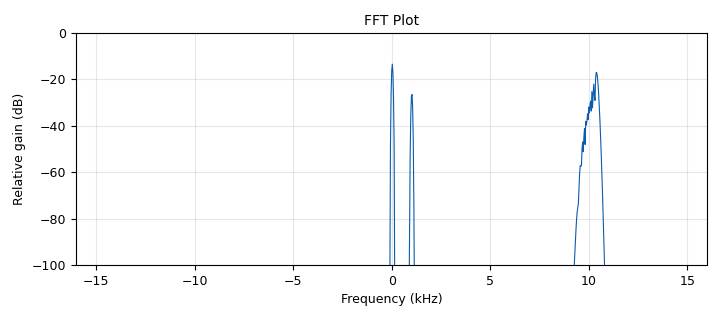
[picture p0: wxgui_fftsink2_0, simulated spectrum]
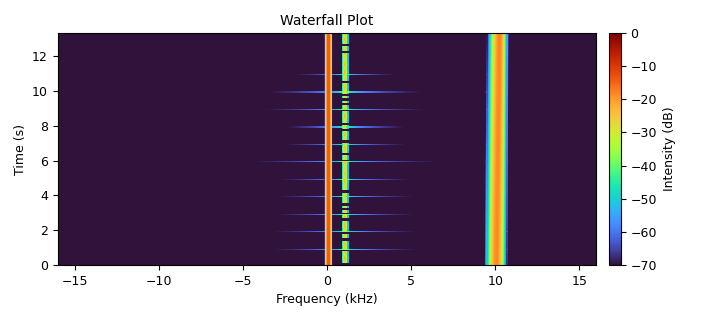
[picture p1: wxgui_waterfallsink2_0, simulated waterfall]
<?xml version='1.0' encoding='utf-8'?>
<flow_graph>
<block>
<key>options</key>
<param><key>id</key><value>top_block</value></param>
<param><key>generate_options</key><value>wx_gui</value></param>
<param><key>category</key><value>Custom</value></param>
</block>
<block>
<key>parameter</key>
<param><key>id</key><value>pi</value></param>
<param><key>value</key><value>3.1415926535</value></param>
</block>
<block>
<key>variable</key>
<param><key>id</key><value>samp_rate</value></param>
<param><key>value</key><value>32000</value></param>
</block>
<block>
<key>gr_multiply_const_vxx</key>
<param><key>id</key><value>gr_multiply_const_vxx_2</value></param>
<param><key>type</key><value>complex</value></param>
<param><key>const</key><value>0.3</value></param>
<param><key>vlen</key><value>1</value></param>
</block>
<block>
<key>gr_multiply_const_vxx</key>
<param><key>id</key><value>gr_multiply_const_vxx_1</value></param>
<param><key>type</key><value>complex</value></param>
<param><key>const</key><value>0.07</value></param>
<param><key>vlen</key><value>1</value></param>
</block>
<block>
<key>gr_sig_source_x</key>
<param><key>id</key><value>gr_sig_source_x_3</value></param>
<param><key>type</key><value>complex</value></param>
<param><key>samp_rate</key><value>samp_rate</value></param>
<param><key>waveform</key><value>gr.GR_COS_WAVE</value></param>
<param><key>freq</key><value>1020</value></param>
<param><key>amp</key><value>1</value></param>
<param><key>offset</key><value>0</value></param>
</block>
<block>
<key>gr_multiply_xx</key>
<param><key>id</key><value>gr_multiply_xx_1</value></param>
<param><key>type</key><value>complex</value></param>
<param><key>num_inputs</key><value>2</value></param>
<param><key>vlen</key><value>1</value></param>
</block>
<block>
<key>gr_repeat</key>
<param><key>id</key><value>gr_repeat_0</value></param>
<param><key>type</key><value>complex</value></param>
<param><key>interp</key><value>samp_rate/8</value></param>
<param><key>vlen</key><value>1</value></param>
</block>
<block>
<key>gr_interleaved_short_to_complex</key>
<param><key>id</key><value>gr_interleaved_short_to_complex_0</value></param>
</block>
<block>
<key>gr_throttle</key>
<param><key>id</key><value>gr_throttle_0</value></param>
<param><key>type</key><value>short</value></param>
<param><key>samples_per_second</key><value>1</value></param>
<param><key>vlen</key><value>1</value></param>
</block>
<block>
<key>random_source_x</key>
<param><key>id</key><value>random_source_x_0</value></param>
<param><key>type</key><value>short</value></param>
<param><key>min</key><value>0</value></param>
<param><key>max</key><value>2</value></param>
<param><key>num_samps</key><value>100</value></param>
<param><key>repeat</key><value>True</value></param>
</block>
<block>
<key>gr_multiply_const_vxx</key>
<param><key>id</key><value>gr_multiply_const_vxx_0</value></param>
<param><key>type</key><value>complex</value></param>
<param><key>const</key><value>0.3</value></param>
<param><key>vlen</key><value>1</value></param>
</block>
<block>
<key>gr_sig_source_x</key>
<param><key>id</key><value>gr_sig_source_x_2</value></param>
<param><key>type</key><value>complex</value></param>
<param><key>samp_rate</key><value>samp_rate</value></param>
<param><key>waveform</key><value>gr.GR_COS_WAVE</value></param>
<param><key>freq</key><value>9960</value></param>
<param><key>amp</key><value>1</value></param>
<param><key>offset</key><value>0</value></param>
</block>
<block>
<key>gr_multiply_xx</key>
<param><key>id</key><value>gr_multiply_xx_0</value></param>
<param><key>type</key><value>complex</value></param>
<param><key>num_inputs</key><value>2</value></param>
<param><key>vlen</key><value>1</value></param>
</block>
<block>
<key>gr_sig_source_x</key>
<param><key>id</key><value>gr_sig_source_x_0</value></param>
<param><key>type</key><value>complex</value></param>
<param><key>samp_rate</key><value>samp_rate</value></param>
<param><key>waveform</key><value>gr.GR_COS_WAVE</value></param>
<param><key>freq</key><value>30</value></param>
<param><key>amp</key><value>1</value></param>
<param><key>offset</key><value>0</value></param>
</block>
<block>
<key>gr_sig_source_x</key>
<param><key>id</key><value>gr_sig_source_x_1</value></param>
<param><key>type</key><value>float</value></param>
<param><key>samp_rate</key><value>samp_rate</value></param>
<param><key>waveform</key><value>gr.GR_COS_WAVE</value></param>
<param><key>freq</key><value>30</value></param>
<param><key>amp</key><value>1</value></param>
<param><key>offset</key><value>0</value></param>
</block>
<block>
<key>gr_add_xx</key>
<param><key>id</key><value>gr_add_xx_0</value></param>
<param><key>type</key><value>complex</value></param>
<param><key>num_inputs</key><value>3</value></param>
<param><key>vlen</key><value>1</value></param>
</block>
<block>
<key>blks2_rational_resampler_xxx</key>
<param><key>id</key><value>blks2_rational_resampler_xxx_0</value></param>
<param><key>type</key><value>ccc</value></param>
<param><key>decim</key><value>32</value></param>
<param><key>interp</key><value>48</value></param>
<param><key>taps</key><value>[]</value></param>
<param><key>fractional_bw</key><value>0</value></param>
</block>
<block>
<key>const_source_x</key>
<param><key>id</key><value>const_source_x_0</value></param>
<param><key>type</key><value>complex</value></param>
<param><key>const</key><value>0</value></param>
</block>
<block>
<key>gr_frequency_modulator_fc</key>
<param><key>id</key><value>gr_frequency_modulator_fc_0</value></param>
<param><key>sensitivity</key><value>(2*pi)*480/samp_rate</value></param>
</block>
<block>
<key>gr_add_xx</key>
<param><key>id</key><value>gr_add_xx_1</value></param>
<param><key>type</key><value>complex</value></param>
<param><key>num_inputs</key><value>2</value></param>
<param><key>vlen</key><value>1</value></param>
</block>
<block>
<key>gr_throttle</key>
<param><key>id</key><value>gr_throttle_2</value></param>
<param><key>type</key><value>complex</value></param>
<param><key>samples_per_second</key><value>samp_rate</value></param>
<param><key>vlen</key><value>1</value></param>
</block>
<block>
<key>wxgui_fftsink2</key>
<param><key>id</key><value>wxgui_fftsink2_0</value></param>
<param><key>type</key><value>complex</value></param>
<param><key>title</key><value>FFT Plot</value></param>
<param><key>samp_rate</key><value>samp_rate</value></param>
<param><key>baseband_freq</key><value>0</value></param>
<param><key>y_per_div</key><value>10</value></param>
<param><key>y_divs</key><value>10</value></param>
<param><key>ref_level</key><value>0</value></param>
<param><key>ref_scale</key><value>2.0</value></param>
<param><key>fft_size</key><value>1024</value></param>
<param><key>fft_rate</key><value>15</value></param>
<param><key>peak_hold</key><value>False</value></param>
<param><key>average</key><value>False</value></param>
<param><key>avg_alpha</key><value>0</value></param>
<param><key>win</key><value>None</value></param>
<param><key>freqvar</key><value>None</value></param>
</block>
<block>
<key>wxgui_waterfallsink2</key>
<param><key>id</key><value>wxgui_waterfallsink2_0</value></param>
<param><key>type</key><value>complex</value></param>
<param><key>title</key><value>Waterfall Plot</value></param>
<param><key>samp_rate</key><value>samp_rate</value></param>
<param><key>baseband_freq</key><value>0</value></param>
<param><key>dynamic_range</key><value>70</value></param>
<param><key>ref_level</key><value>0</value></param>
<param><key>ref_scale</key><value>2.0</value></param>
<param><key>fft_size</key><value>512</value></param>
<param><key>fft_rate</key><value>15</value></param>
<param><key>average</key><value>False</value></param>
<param><key>avg_alpha</key><value>0</value></param>
<param><key>win</key><value>None</value></param>
<param><key>freqvar</key><value>None</value></param>
</block>
<block>
<key>gr_complex_to_float</key>
<param><key>id</key><value>gr_complex_to_float_0</value></param>
<param><key>vlen</key><value>1</value></param>
</block>
<block>
<key>audio_sink</key>
<param><key>id</key><value>audio_sink_0</value></param>
<param><key>samp_rate</key><value>48000</value></param>
<param><key>num_inputs</key><value>2</value></param>
</block>
<connection><source_block_id>gr_add_xx_0</source_block_id><sink_block_id>gr_throttle_2</sink_block_id><source_key>0</source_key><sink_key>0</sink_key></connection>
<connection><source_block_id>gr_throttle_2</source_block_id><sink_block_id>wxgui_waterfallsink2_0</sink_block_id><source_key>0</source_key><sink_key>0</sink_key></connection>
<connection><source_block_id>gr_throttle_2</source_block_id><sink_block_id>wxgui_fftsink2_0</sink_block_id><source_key>0</source_key><sink_key>0</sink_key></connection>
<connection><source_block_id>gr_complex_to_float_0</source_block_id><sink_block_id>audio_sink_0</sink_block_id><source_key>0</source_key><sink_key>0</sink_key></connection>
<connection><source_block_id>gr_complex_to_float_0</source_block_id><sink_block_id>audio_sink_0</sink_block_id><source_key>1</source_key><sink_key>1</sink_key></connection>
<connection><source_block_id>gr_throttle_2</source_block_id><sink_block_id>blks2_rational_resampler_xxx_0</sink_block_id><source_key>0</source_key><sink_key>0</sink_key></connection>
<connection><source_block_id>blks2_rational_resampler_xxx_0</source_block_id><sink_block_id>gr_complex_to_float_0</sink_block_id><source_key>0</source_key><sink_key>0</sink_key></connection>
<connection><source_block_id>gr_multiply_xx_0</source_block_id><sink_block_id>gr_multiply_const_vxx_2</sink_block_id><source_key>0</source_key><sink_key>0</sink_key></connection>
<connection><source_block_id>gr_add_xx_1</source_block_id><sink_block_id>gr_multiply_xx_0</sink_block_id><source_key>0</source_key><sink_key>0</sink_key></connection>
<connection><source_block_id>gr_sig_source_x_2</source_block_id><sink_block_id>gr_multiply_xx_0</sink_block_id><source_key>0</source_key><sink_key>1</sink_key></connection>
<connection><source_block_id>const_source_x_0</source_block_id><sink_block_id>gr_add_xx_1</sink_block_id><source_key>0</source_key><sink_key>1</sink_key></connection>
<connection><source_block_id>gr_frequency_modulator_fc_0</source_block_id><sink_block_id>gr_add_xx_1</sink_block_id><source_key>0</source_key><sink_key>0</sink_key></connection>
<connection><source_block_id>gr_sig_source_x_1</source_block_id><sink_block_id>gr_frequency_modulator_fc_0</sink_block_id><source_key>0</source_key><sink_key>0</sink_key></connection>
<connection><source_block_id>gr_multiply_const_vxx_2</source_block_id><sink_block_id>gr_add_xx_0</sink_block_id><source_key>0</source_key><sink_key>2</sink_key></connection>
<connection><source_block_id>gr_sig_source_x_3</source_block_id><sink_block_id>gr_multiply_xx_1</sink_block_id><source_key>0</source_key><sink_key>1</sink_key></connection>
<connection><source_block_id>gr_interleaved_short_to_complex_0</source_block_id><sink_block_id>gr_repeat_0</sink_block_id><source_key>0</source_key><sink_key>0</sink_key></connection>
<connection><source_block_id>gr_throttle_0</source_block_id><sink_block_id>gr_interleaved_short_to_complex_0</sink_block_id><source_key>0</source_key><sink_key>0</sink_key></connection>
<connection><source_block_id>gr_multiply_xx_1</source_block_id><sink_block_id>gr_multiply_const_vxx_1</sink_block_id><source_key>0</source_key><sink_key>0</sink_key></connection>
<connection><source_block_id>gr_repeat_0</source_block_id><sink_block_id>gr_multiply_xx_1</sink_block_id><source_key>0</source_key><sink_key>0</sink_key></connection>
<connection><source_block_id>random_source_x_0</source_block_id><sink_block_id>gr_throttle_0</sink_block_id><source_key>0</source_key><sink_key>0</sink_key></connection>
<connection><source_block_id>gr_sig_source_x_0</source_block_id><sink_block_id>gr_multiply_const_vxx_0</sink_block_id><source_key>0</source_key><sink_key>0</sink_key></connection>
<connection><source_block_id>gr_multiply_const_vxx_1</source_block_id><sink_block_id>gr_add_xx_0</sink_block_id><source_key>0</source_key><sink_key>1</sink_key></connection>
<connection><source_block_id>gr_multiply_const_vxx_0</source_block_id><sink_block_id>gr_add_xx_0</sink_block_id><source_key>0</source_key><sink_key>0</sink_key></connection>
</flow_graph>
